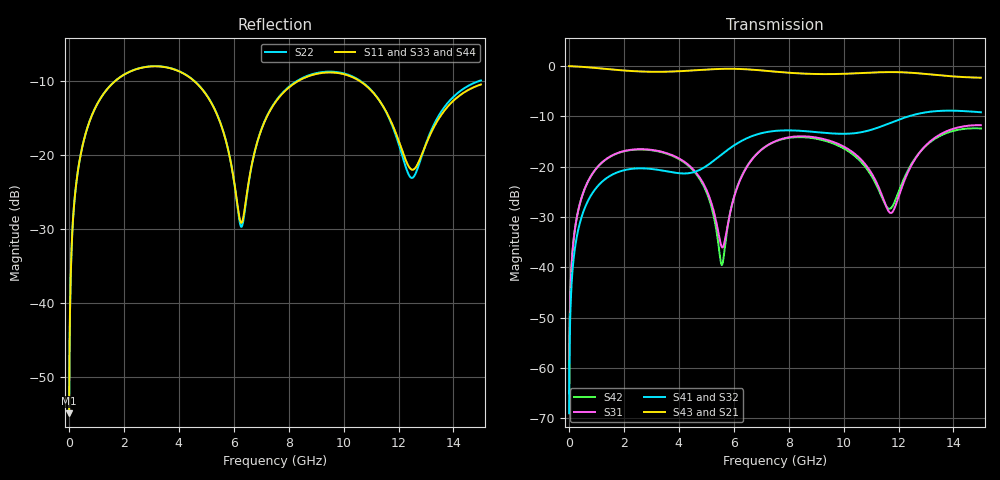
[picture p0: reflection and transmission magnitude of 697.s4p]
! Created with skrf 1.8.0 (http://scikit-rf.org).
# GHz S RI R 50.0
!freq ReS11 ImS11 ReS12 ImS12 ReS13 ImS13
! ReS14 ImS14
! ReS21 ImS21 ReS22 ImS22 ReS23 ImS23
! ReS24 ImS24
! ReS31 ImS31 ReS32 ImS32 ReS33 ImS33
! ReS34 ImS34
! ReS41 ImS41 ReS42 ImS42 ReS43 ImS43
! ReS44 ImS44
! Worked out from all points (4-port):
!   2499 points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, 5 MHz to 15 GHz, reference 50 ohm
!   strongest paths, dB at 5 MHz, 3.476 GHz, 7.19 GHz, 11.1 GHz, 15 GHz:
!     S43: 0.0, -1.1, -0.9, -1.3, -2.3
!     S21: 0.0, -1.1, -0.9, -1.3, -2.3
!     S41: -69.0, -20.8, -13.1, -12.5, -9.2
!     S32: -69.0, -20.9, -13.1, -12.5, -9.3
!     S31: -65.1, -17.2, -15.9, -22.0, -11.7
!     S42: -65.1, -17.3, -15.9, -22.6, -12.4
!   lowest |S11| = -54.9 dB at 5 MHz (marker M1), VSWR 1.00, Z = 50.1 + j0.11 ohm
!   |S11| at or under -10 dB: start of sweep to 1.692 GHz; 4.55 GHz to 8.36 GHz (3.81 GHz wide, 59 % of centre); 10.57 GHz to end of sweep
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0.005  0.00143 0.00109  0.9985 -0.00279  7.09e-05 0.000552  -6.9e-05 -0.000348
       0.9985 -0.00279  0.00143 0.00109  -6.9e-05 -0.000348  7.09e-05 0.000552
       7.09e-05 0.000552  -6.9e-05 -0.000348  0.00143 0.00109  0.9985 -0.00279
       -6.9e-05 -0.000348  7.09e-05 0.000552  0.9985 -0.00279  0.00143 0.00109
0.3126303  0.0192 0.0726  0.9739 -0.1746  0.00844 0.0332  -0.00702 -0.0209
           0.9739 -0.1746  0.0192 0.0726  -0.00701 -0.0209  0.00833 0.0333
           0.00844 0.0332  -0.00701 -0.0209  0.0192 0.0727  0.9739 -0.1746
           -0.00702 -0.0209  0.00833 0.0333  0.9739 -0.1746  0.0192 0.0726
1.519383  0.2239 0.1923  0.6438 -0.6683  0.1071 0.0688  -0.0792 -0.0207
          0.6438 -0.6683  0.2245 0.1919  -0.0791 -0.0209  0.1055 0.0704
          0.1071 0.0688  -0.0791 -0.0209  0.224 0.1922  0.6438 -0.6683
          -0.0792 -0.0207  0.1055 0.0704  0.6438 -0.6683  0.2244 0.192
5.564819  0.0807 -0.1313  -0.8509 -0.3959  -0.0148 -0.00611  -0.0511 0.1226
          -0.8509 -0.3959  0.0784 -0.1334  -0.0535 0.1215  -0.0101 -0.00312
          -0.0148 -0.00611  -0.0535 0.1215  0.0804 -0.1311  -0.851 -0.3959
          -0.0511 0.1226  -0.0101 -0.00312  -0.851 -0.3959  0.0783 -0.1329
6.227595  0.0343 -0.0119  -0.9334 -0.0741  -0.00112 0.0732  -0.0085 0.1769
          -0.9334 -0.0741  0.0321 -0.0125  -0.0118 0.1767  0.00125 0.0743
          -0.00112 0.0732  -0.0118 0.1767  0.0344 -0.0113  -0.9334 -0.0741
          -0.0085 0.1769  0.00125 0.0743  -0.9334 -0.0741  0.0319 -0.0123
10.17299  0.3304 -0.093  0.1822 0.822  0.1058 -0.1052  0.1872 -0.1017
          0.1822 0.822  0.3314 -0.1036  0.1889 -0.0933  0.106 -0.0955
          0.1058 -0.1052  0.1889 -0.0933  0.3315 -0.0971  0.1816 0.8219
          0.1872 -0.1017  0.106 -0.0955  0.1816 0.8219  0.3318 -0.0995
15  0.2931 0.0575  0.4075 -0.6484  0.2587 -0.0105  -0.3358 -0.091
    0.4075 -0.6484  0.3143 0.05  -0.3268 -0.1045  0.24 0.011
    0.2587 -0.0105  -0.3268 -0.1045  0.2962 0.0534  0.4095 -0.6487
    -0.3358 -0.091  0.24 0.011  0.4095 -0.6487  0.3049 0.0515
